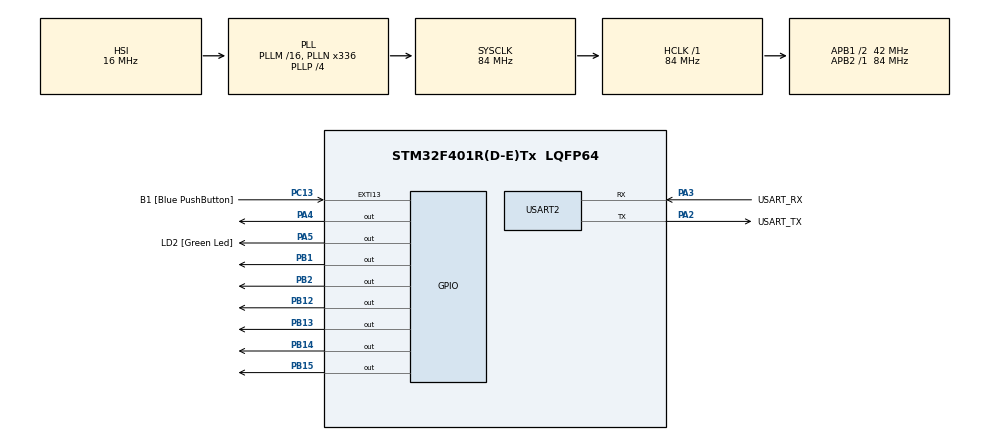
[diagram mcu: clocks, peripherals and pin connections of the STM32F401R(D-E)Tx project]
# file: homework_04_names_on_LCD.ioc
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Mcu.Family=STM32F4
Mcu.Name=STM32F401R(D-E)Tx
Mcu.Package=LQFP64
NVIC.PriorityGroup=NVIC_PRIORITYGROUP_0
PA13.GPIO_Label=TMS
PA13.Mode=Serial_Wire
PA13.Signal=SYS_JTMS-SWDIO
PA14.GPIO_Label=TCK
PA14.Mode=Serial_Wire
PA14.Signal=SYS_JTCK-SWCLK
PA2.GPIO_Label=USART_TX
PA2.GPIO_Mode=GPIO_MODE_AF_PP
PA2.GPIO_PuPd=GPIO_NOPULL
PA2.GPIO_Speed=GPIO_SPEED_FREQ_LOW
PA2.Mode=Asynchronous
PA2.Signal=USART2_TX
PA3.GPIO_Label=USART_RX
PA3.GPIO_Mode=GPIO_MODE_AF_PP
PA3.GPIO_PuPd=GPIO_NOPULL
PA3.GPIO_Speed=GPIO_SPEED_FREQ_LOW
PA3.Mode=Asynchronous
PA3.Signal=USART2_RX
PA4.Signal=GPIO_Output
PA5.GPIO_Label=LD2 [Green Led]
PA5.GPIO_Mode=GPIO_MODE_OUTPUT_PP
PA5.GPIO_PuPd=GPIO_NOPULL
PA5.GPIO_Speed=GPIO_SPEED_FREQ_LOW
PA5.Signal=GPIO_Output
PB1.Signal=GPIO_Output
PB12.Signal=GPIO_Output
PB13.Signal=GPIO_Output
PB14.Signal=GPIO_Output
PB15.Signal=GPIO_Output
PB2.Signal=GPIO_Output
PB3.GPIO_Label=SWO
PB3.Signal=SYS_JTDO-SWO
PC13-ANTI_TAMP.GPIO_Label=B1 [Blue PushButton]
PC13-ANTI_TAMP.GPIO_ModeDefaultEXTI=GPIO_MODE_IT_FALLING
PC13-ANTI_TAMP.GPIO_PuPd=GPIO_NOPULL
PC13-ANTI_TAMP.Signal=GPXTI13
PC14-OSC32_IN.Mode=LSE-External-Oscillator
PC14-OSC32_IN.Signal=RCC_OSC32_IN
PC15-OSC32_OUT.Mode=LSE-External-Oscillator
PC15-OSC32_OUT.Signal=RCC_OSC32_OUT
PH0\ -\ OSC_IN.Mode=HSE-External-Clock-Source
PH0\ -\ OSC_IN.Signal=RCC_OSC_IN
PH1\ -\ OSC_OUT.Mode=HSE-External-Clock-Source
PH1\ -\ OSC_OUT.Signal=RCC_OSC_OUT
ProjectManager.HeapSize=0x200
ProjectManager.StackSize=0x400
ProjectManager.TargetToolchain=STM32CubeIDE
RCC.48MHZClocksFreq_Value=48000000
RCC.AHBFreq_Value=84000000
RCC.APB1CLKDivider=RCC_HCLK_DIV2
RCC.APB1Freq_Value=42000000
RCC.APB1TimFreq_Value=84000000
RCC.APB2Freq_Value=84000000
RCC.APB2TimFreq_Value=84000000
RCC.CortexFreq_Value=84000000
RCC.HCLKFreq_Value=84000000
RCC.HSE_VALUE=8000000
RCC.HSI_VALUE=16000000
RCC.PLLN=336
RCC.PLLP=RCC_PLLP_DIV4
RCC.PLLQ=7
RCC.SYSCLKFreq_VALUE=84000000
RCC.SYSCLKSource=RCC_SYSCLKSOURCE_PLLCLK
RCC.VCOOutputFreq_Value=336000000
USART2.VirtualMode=VM_ASYNC
board=NUCLEO-F401RE

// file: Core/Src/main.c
/* USER CODE BEGIN Header */
/**
  ******************************************************************************
  * @file           : main.c
  * @brief          : Main program body
  ******************************************************************************
  * @attention
  *
  * Copyright (c) 2023 STMicroelectronics.
  * All rights reserved.
  *
  * This software is licensed under terms that can be found in the LICENSE file
  * in the root directory of this software component.
  * If no LICENSE file comes with this software, it is provided AS-IS.
  *
  ******************************************************************************
  */
/* USER CODE END Header */
#include "main.h"

/* USER CODE BEGIN Includes */
#include "PMDB16_LCD.h"
#include "string.h"
#include "stdio.h"
#include "stdlib.h"
/* USER CODE END Includes */

/* USER CODE BEGIN PD */
#define GIADA      "Giada"
#define WILLIAM    "William"
#define FRANCESCOS "Francesco S"
#define FRANCESCOT "Francesco T"
#define PAOLO      "Paolo"
/* USER CODE END PD */

UART_HandleTypeDef huart2;

/* USER CODE BEGIN PV */
struct name {
	char name[20];
	struct name* next;
}name;
/* USER CODE END PV */

void SystemClock_Config(void);
static void MX_GPIO_Init(void);
static void MX_USART2_UART_Init(void);
/* USER CODE BEGIN PFP */
// create the linked list for the names
static struct name* create_list_names(char people[][20], int);
/* USER CODE END PFP */

int main(void)
{

  /* MCU Configuration--------------------------------------------------------*/

  /* Reset of all peripherals, Initializes the Flash interface and the Systick. */
  HAL_Init();

  /* Configure the system clock */
  SystemClock_Config();

  /* Initialize all configured peripherals */
  MX_GPIO_Init();
  MX_USART2_UART_Init();
  /* USER CODE BEGIN 2 */
  // lcd initialization
  lcd_initialize();
  lcd_backlight_ON();

  //  lists initialization
  char people[][20] = {WILLIAM, GIADA, FRANCESCOS, FRANCESCOT, PAOLO};
  struct name *list = create_list_names(people, sizeof(people)/20);
  struct name *temp = list;

  HAL_Delay(2000);

  // printing
  if(temp != NULL && temp->next != NULL) {
	  lcd_println(" ", 0);
	  lcd_println(temp->name, 1);
  }

  while(temp != NULL) {
	  HAL_Delay(1000);

	  if(temp->next != NULL) {
		  lcd_println(temp->name, 0);
		  lcd_println(temp->next->name, 1);
	  } else {
		  lcd_println(temp->name, 0);
		  temp = list;
		  lcd_println(temp->name, 1);
	  }

	  temp = temp->next;
  }

  /* USER CODE END 2 */

  /* Infinite loop */
  while (1)
  {

  }
}

void SystemClock_Config(void)
{
  RCC_OscInitTypeDef RCC_OscInitStruct = {0};
  RCC_ClkInitTypeDef RCC_ClkInitStruct = {0};

  /** Configure the main internal regulator output voltage
  */
  __HAL_RCC_PWR_CLK_ENABLE();
  __HAL_PWR_VOLTAGESCALING_CONFIG(PWR_REGULATOR_VOLTAGE_SCALE2);

  /** Initializes the RCC Oscillators according to the specified parameters
  * in the RCC_OscInitTypeDef structure.
  */
  RCC_OscInitStruct.OscillatorType = RCC_OSCILLATORTYPE_HSI;
  RCC_OscInitStruct.HSIState = RCC_HSI_ON;
  RCC_OscInitStruct.HSICalibrationValue = RCC_HSICALIBRATION_DEFAULT;
  RCC_OscInitStruct.PLL.PLLState = RCC_PLL_ON;
  RCC_OscInitStruct.PLL.PLLSource = RCC_PLLSOURCE_HSI;
  RCC_OscInitStruct.PLL.PLLM = 16;
  RCC_OscInitStruct.PLL.PLLN = 336;
  RCC_OscInitStruct.PLL.PLLP = RCC_PLLP_DIV4;
  RCC_OscInitStruct.PLL.PLLQ = 7;
  if (HAL_RCC_OscConfig(&RCC_OscInitStruct) != HAL_OK)
  {
    Error_Handler();
  }

  /** Initializes the CPU, AHB and APB buses clocks
  */
  RCC_ClkInitStruct.ClockType = RCC_CLOCKTYPE_HCLK|RCC_CLOCKTYPE_SYSCLK
                              |RCC_CLOCKTYPE_PCLK1|RCC_CLOCKTYPE_PCLK2;
  RCC_ClkInitStruct.SYSCLKSource = RCC_SYSCLKSOURCE_PLLCLK;
  RCC_ClkInitStruct.AHBCLKDivider = RCC_SYSCLK_DIV1;
  RCC_ClkInitStruct.APB1CLKDivider = RCC_HCLK_DIV2;
  RCC_ClkInitStruct.APB2CLKDivider = RCC_HCLK_DIV1;

  if (HAL_RCC_ClockConfig(&RCC_ClkInitStruct, FLASH_LATENCY_2) != HAL_OK)
  {
    Error_Handler();
  }
}

static void MX_USART2_UART_Init(void)
{

  huart2.Instance = USART2;
  huart2.Init.BaudRate = 115200;
  huart2.Init.WordLength = UART_WORDLENGTH_8B;
  huart2.Init.StopBits = UART_STOPBITS_1;
  huart2.Init.Parity = UART_PARITY_NONE;
  huart2.Init.Mode = UART_MODE_TX_RX;
  huart2.Init.HwFlowCtl = UART_HWCONTROL_NONE;
  huart2.Init.OverSampling = UART_OVERSAMPLING_16;
  if (HAL_UART_Init(&huart2) != HAL_OK)
  {
    Error_Handler();
  }

}

static void MX_GPIO_Init(void)
{
  GPIO_InitTypeDef GPIO_InitStruct = {0};

  /* GPIO Ports Clock Enable */
  __HAL_RCC_GPIOC_CLK_ENABLE();
  __HAL_RCC_GPIOH_CLK_ENABLE();
  __HAL_RCC_GPIOA_CLK_ENABLE();
  __HAL_RCC_GPIOB_CLK_ENABLE();

  /*Configure GPIO pin Output Level */
  HAL_GPIO_WritePin(GPIOA, GPIO_PIN_4|LD2_Pin, GPIO_PIN_RESET);

  /*Configure GPIO pin Output Level */
  HAL_GPIO_WritePin(GPIOB, GPIO_PIN_1|GPIO_PIN_2|GPIO_PIN_12|GPIO_PIN_13
                          |GPIO_PIN_14|GPIO_PIN_15, GPIO_PIN_RESET);

  /*Configure GPIO pin : B1_Pin */
  GPIO_InitStruct.Pin = B1_Pin;
  GPIO_InitStruct.Mode = GPIO_MODE_IT_FALLING;
  GPIO_InitStruct.Pull = GPIO_NOPULL;
  HAL_GPIO_Init(B1_GPIO_Port, &GPIO_InitStruct);

  /*Configure GPIO pins : PA4 LD2_Pin */
  GPIO_InitStruct.Pin = GPIO_PIN_4|LD2_Pin;
  GPIO_InitStruct.Mode = GPIO_MODE_OUTPUT_PP;
  GPIO_InitStruct.Pull = GPIO_NOPULL;
  GPIO_InitStruct.Speed = GPIO_SPEED_FREQ_LOW;
  HAL_GPIO_Init(GPIOA, &GPIO_InitStruct);

  /*Configure GPIO pins : PB1 PB2 PB12 PB13
                           PB14 PB15 */
  GPIO_InitStruct.Pin = GPIO_PIN_1|GPIO_PIN_2|GPIO_PIN_12|GPIO_PIN_13
                          |GPIO_PIN_14|GPIO_PIN_15;
  GPIO_InitStruct.Mode = GPIO_MODE_OUTPUT_PP;
  GPIO_InitStruct.Pull = GPIO_NOPULL;
  GPIO_InitStruct.Speed = GPIO_SPEED_FREQ_LOW;
  HAL_GPIO_Init(GPIOB, &GPIO_InitStruct);

}

/* USER CODE BEGIN 4 */
static struct name* create_list_names(char people[][20], int size) {
	struct name *head = NULL;
	struct name *tail = NULL;

	for(int i = 0; i < size; i++) {
		if(i == 0) {
			head = malloc(sizeof(name));
			snprintf(head->name, 20, "%s", people[i]);
			head->next = NULL;
			tail = head;
		} else {
			tail->next = malloc(sizeof(name));
			tail = tail->next;
			snprintf(tail->name, 20, "%s", people[i]);
			tail->next = NULL;
		}
	}

	return head;
}
/* USER CODE END 4 */

void Error_Handler(void)
{
  __disable_irq();
  while (1)
  {
  }
}
